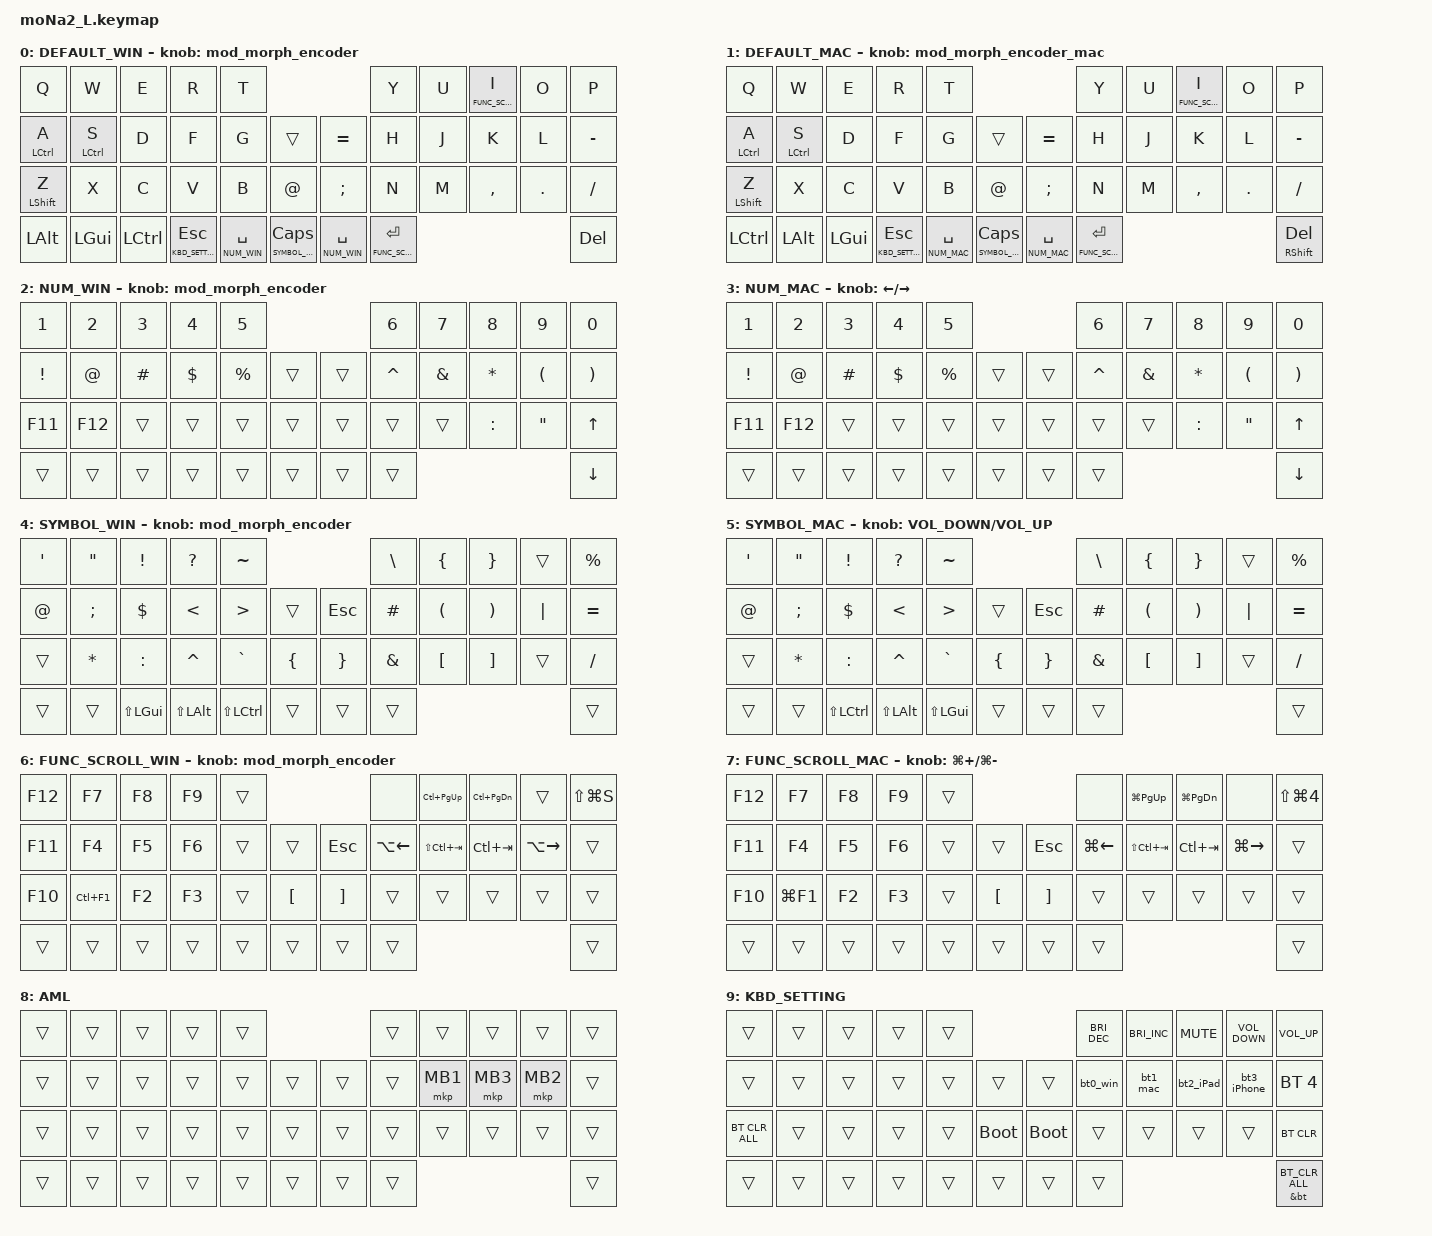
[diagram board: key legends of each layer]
#include <behaviors.dtsi>
#include <dt-bindings/zmk/bt.h>
#include <dt-bindings/zmk/keys.h>
#include <dt-bindings/zmk/pointing.h>

#define DEFAULT_WIN 0
#define DEFAULT_MAC 1
#define NUM_WIN 2
#define NUM_MAC 3
#define SYMBOL_WIN 4
#define SYMBOL_MAC 5
#define FUNC_SCROLL_WIN 6
#define FUNC_SCROLL_MAC 7
#define AML 8
#define KBD_SETTING 9

// ロータリーエンコーダー: スクロール量変更の定義を追記
#define ZMK_POINTING_DEFAULT_SCRL_VAL 120

//マウスカーソルの挙動設定
&mmv {
    delay-ms = <20>;
    trigger-period-ms = <5>;
    time-to-max-speed-ms = <200>;
};

//マウススクロールの挙動設定
&msc {
    delay-ms = <3>;
    trigger-period-ms = <3>;
    time-to-max-speed-ms = <200>;
};

&mt {
    flavor = "balanced";
    tapping-term-ms = <180>;
    quick-tap-ms = <180>;
    hold-while-undecided;
};

&lt {
    flavor = "balanced";
    tapping-term-ms = <180>;
    quick-tap-ms = <180>;
    hold-while-undecided;
};

/ {
    // ========================
    // COMBOS SECTION
    // ========================

    combos {
        compatible = "zmk,combos";

        // Navigation combos
        tab {
            bindings = <&kp TAB>;
            key-positions = <11 10>;
        };

        alt_tab {
            bindings = <&kp LA(TAB)>;
            key-positions = <11 12>;
        };

        // Punctuation combos
        enter_combo {
            bindings = <&kp ENTER>;
            key-positions = <20 21>;
        };

        equals {
            bindings = <&kp EQUAL>;
            key-positions = <8 7>;
        };

        escape {
            bindings = <&kp ESCAPE>;
            key-positions = <1 0>;
        };

        // Letter combos
        shift_z {
            bindings = <&kp LS(Z)>;
            key-positions = <22 23>;
        };

        question_mark {
            bindings = <&kp RS(SLASH)>;
            key-positions = <33 32>;
        };

        bs {
            bindings = <&kp BSPC>;
            key-positions = <9 8>;
        };
    };

    macros {
        to_layer_0: to_layer_0 {
            compatible = "zmk,behavior-macro-one-param";
            #binding-cells = <1>;
            bindings = <&to 0 &macro_param_1to1 &kp MACRO_PLACEHOLDER>;
            label = "TO_LAYER_0";
        };

        bt0_win: bt0 {
            compatible = "zmk,behavior-macro";
            #binding-cells = <0>;
            bindings =
                <&tog_off 1>,
                <&macro_wait_time 200>,
                <&bt BT_SEL 0 &bt BT_DISC 1 &bt BT_DISC 2 &bt BT_DISC 3 &bt BT_DISC 4>;
            label = "BT0";
        };

        bt1_mac: bt1 {
            compatible = "zmk,behavior-macro";
            #binding-cells = <0>;
            bindings =
                <&tog_off 1>,
                <&macro_wait_time 200>,
                <&bt BT_SEL 1 &bt BT_DISC 0 &bt BT_DISC 2 &bt BT_DISC 3 &bt BT_DISC 4>,
                <&macro_wait_time 500>,
                <&tog_on 1>;
            label = "BT1";
        };

        bt2_iPad: bt2_iPad {
            compatible = "zmk,behavior-macro";
            #binding-cells = <0>;
            bindings =
                <&tog_off 1>,
                <&macro_wait_time 200>,
                <&bt BT_SEL 2 &bt BT_DISC 0 &bt BT_DISC 1 &bt BT_DISC 3 &bt BT_DISC 4>,
                <&macro_wait_time 500>,
                <&tog_on 1>;
            label = "BT2_IPAD";
        };

        bt3_iPhone: bt3_iPhone {
            compatible = "zmk,behavior-macro";
            #binding-cells = <0>;
            bindings =
                <&tog_off 1>,
                <&macro_wait_time 200>,
                <&bt BT_SEL 3 &bt BT_DISC 0 &bt BT_DISC 1 &bt BT_DISC 2 &bt BT_DISC 4>,
                <&macro_wait_time 500>,
                <&tog_on 1>;
            label = "BT3_IPHONE";
        };

        // AML起動中にスクロールレイヤに入るためのマクロ(zaruSaruさん実装)
        to_scroll_layer_win: to_scroll_layer_win {
            compatible = "zmk,behavior-macro";
            #binding-cells = <0>;
            bindings =
                <&to FUNC_SCROLL_WIN>,
                <&macro_press>,
                <&mo FUNC_SCROLL_WIN>,
                <&macro_pause_for_release>,
                <&macro_release>,
                <&mo FUNC_SCROLL_WIN>;
            label = "TO_SCROLL_LAYER_WIN";
        };

        to_scroll_layer_mac: to_scroll_layer_mac {
            compatible = "zmk,behavior-macro";
            #binding-cells = <0>;
            bindings =
                <&to FUNC_SCROLL_MAC>,
                <&macro_press>,
                <&mo FUNC_SCROLL_MAC>,
                <&macro_pause_for_release>,
                <&macro_release>,
                <&mo FUNC_SCROLL_MAC>;
            label = "TO_SCROLL_LAYER_MAC";
        };

        // タップ時のみAML解除するための設定
        exit_AML: exit_AML {
            compatible = "zmk,behavior-macro";
            wait-ms = <0>;
            tap-ms = <0>;
            #binding-cells = <0>;
            bindings = <&tog_off AML>;
            label = "exit_AML";
        };

        kp_exit_AML: kp_exit_AML {
            compatible = "zmk,behavior-macro-one-param";
            wait-ms = <0>;
            tap-ms = <0>;
            #binding-cells = <1>;
            bindings = <&macro_param_1to1 &kp MACRO_PLACEHOLDER &exit_AML>;
            label = "KP_exit_AML";
        };
    };

    behaviors {
        lt_to_layer_0: lt_to_layer_0 {
            compatible = "zmk,behavior-hold-tap";
            label = "LAYER_TAP_TO_0";
            bindings = <&mo>, <&to_layer_0>;
            #binding-cells = <2>;
            tapping-term-ms = <200>;
        };

        // タップ時のみAML解除するための設定
        mt_exit_AML_on_tap: mt_exit_AML_on_tap {
            compatible = "zmk,behavior-hold-tap";
            label = "MT_exit_AML_ON_TAP";
            bindings = <&kp>, <&kp_exit_AML>;
            #binding-cells = <2>;
            tapping-term-ms = <200>;
            flavor = "balanced";
            quick-tap-ms = <200>;
        };

        // ロータリーエンコーダーでスクロールする設定
        encoder_msc_down_up: encoder_msc_down_up {
            compatible = "zmk,behavior-sensor-rotate";
            label = "ENCODER_MSC_DOWN_UP";
            #sensor-binding-cells = <0>;
            bindings = <&msc SCRL_DOWN>, <&msc SCRL_UP>;
            tap-ms = <20>;
        };

        encoder_msc_up_down: encoder_msc_up_down {
            compatible = "zmk,behavior-sensor-rotate";
            label = "ENCODER_MSC_UP_DOWN";
            #sensor-binding-cells = <0>;
            bindings = <&msc SCRL_UP>, <&msc SCRL_DOWN>;
            tap-ms = <20>;
        };

        // Ctrl+スクロール (Windows用)
        encoder_msc_ctrl_up_down: encoder_msc_ctrl_up_down {
            compatible = "zmk,behavior-sensor-rotate";
            label = "ENCODER_MSC_CTRL_UP_DOWN";
            #sensor-binding-cells = <0>;
            bindings = <&sk LCTRL &msc SCRL_UP>, <&sk LCTRL &msc SCRL_DOWN>;
        };

        // 接続先に応じてデフォルトレイヤーを変更するための動作
        tog_on: toggle_layer_on_only {
            compatible = "zmk,behavior-toggle-layer";
            #binding-cells = <1>;
            display-name = "Toggle Layer On";
            toggle-mode = "on";
        };

        tog_off: toggle_layer_off_only {
            compatible = "zmk,behavior-toggle-layer";
            #binding-cells = <1>;
            display-name = "Toggle Layer Off";
            toggle-mode = "off";
        };

        // リピート付きのSpace and Shift
        sands: space_and_shift {
            compatible = "zmk,behavior-hold-tap";
            label = "SPACE_AND_SHIFT";
            #binding-cells = <2>;
            flavor = "tap-unless-interrupted";
            tapping-term-ms = <220>;
            quick-tap-ms = <125>;
            global-quick-tap;
            bindings = <&kp>, <&kp>;
        };

        mtandkp: mt_and_kp {
            compatible = "zmk,behavior-hold-tap";
            label = "MT_AND_KP";
            #binding-cells = <2>;
            flavor = "tap-unless-interrupted";
            tapping-term-ms = <220>;
            quick-tap-ms = <125>;
            global-quick-tap;
            bindings = <&mt>, <&kp>;
        };

        ltandkp: lt_and_kp {
            compatible = "zmk,behavior-hold-tap";
            label = "LT_AND_KP";
            #binding-cells = <2>;
            flavor = "tap-unless-interrupted";
            tapping-term-ms = <220>;
            quick-tap-ms = <125>;
            global-quick-tap;
            bindings = <&lt>, <&kp>;
        };

        // Fixed space_sl2 behavior
        space_sl2: space_sl2 {
            compatible = "zmk,behavior-hold-tap";
            label = "SPACE_STICKY_LAYER_2";
            #binding-cells = <2>;
            tapping-term-ms = <200>;
            quick-tap-ms = <0>;
            flavor = "tap-preferred";
            bindings = <&sl>, <&kp>;
        };

        // Fixed lt_to_layer behaviors
        lt_to_layer_3: lt_to_layer_3 {
            compatible = "zmk,behavior-hold-tap";
            label = "LAYER_TAP_TO_3";
            bindings = <&mo>, <&to>;
            #binding-cells = <2>;
            tapping-term-ms = <200>;
        };

        lt_to_layer_4: lt_to_layer_4 {
            compatible = "zmk,behavior-hold-tap";
            label = "LAYER_TAP_TO_4";
            bindings = <&mo>, <&to>;
            #binding-cells = <2>;
            tapping-term-ms = <200>;
        };

        // mod morphを使用したエンコーダーの挙動制御
        shift_p: shift_p {
            compatible = "zmk,behavior-mod-morph";
            #binding-cells = <0>;
            bindings = <&kp 0>, <&kp LG(LEFT)>;
            mods = <(MOD_LSFT|MOD_RSFT)>;
            keep-mods = <(MOD_LSFT)>;
        };

        shift_default_p: shift_default_p {
            compatible = "zmk,behavior-mod-morph";
            #binding-cells = <0>;
            bindings = <&msc SCRL_DOWN>, <&shift_p>;
            mods = <(MOD_LSFT|MOD_RSFT)>;
        };

        alt_p: alt_p {
            compatible = "zmk,behavior-mod-morph";
            #binding-cells = <0>;
            bindings = <&kp 0>, <&kp LG(UP)>;
            mods = <(MOD_LALT|MOD_RALT)>;
        };

        win_p: win_p {
            compatible = "zmk,behavior-mod-morph";
            #binding-cells = <0>;
            bindings = <&kp 0>, <&kp LG(LEFT)>;
            mods = <(MOD_LGUI|MOD_RGUI)>;
        };

        alt_win_p: alt_win_p {
            compatible = "zmk,behavior-mod-morph";
            #binding-cells = <0>;
            bindings = <&alt_p>, <&win_p>;
            mods = <(MOD_LGUI|MOD_RGUI)>;
        };

        mod_morph_encoder_p: mod_morph_encoder_p {
            compatible = "zmk,behavior-mod-morph";
            #binding-cells = <0>;
            bindings = <&shift_default_p>, <&alt_win_p>;
            mods = <(MOD_LALT|MOD_RALT|MOD_LGUI|MOD_RGUI)>;
        };

        shift_n: shift_n {
            compatible = "zmk,behavior-mod-morph";
            #binding-cells = <0>;
            bindings = <&kp 0>, <&kp LG(RIGHT)>;
            mods = <(MOD_LSFT|MOD_RSFT)>;
            keep-mods = <(MOD_LSFT)>;
        };

        shift_default_n: shift_default_n {
            compatible = "zmk,behavior-mod-morph";
            #binding-cells = <0>;
            bindings = <&msc SCRL_UP>, <&shift_n>;
            mods = <(MOD_LSFT|MOD_RSFT)>;
        };

        alt_n: alt_n {
            compatible = "zmk,behavior-mod-morph";
            #binding-cells = <0>;
            bindings = <&kp 0>, <&kp LG(DOWN)>;
            mods = <(MOD_LALT|MOD_RALT)>;
        };

        win_n: win_n {
            compatible = "zmk,behavior-mod-morph";
            #binding-cells = <0>;
            bindings = <&kp 0>, <&kp LG(RIGHT)>;
            mods = <(MOD_LGUI|MOD_RGUI)>;
        };

        alt_win_n: alt_win_n {
            compatible = "zmk,behavior-mod-morph";
            #binding-cells = <0>;
            bindings = <&alt_n>, <&win_n>;
            mods = <(MOD_LGUI|MOD_RGUI)>;
        };

        mod_morph_encoder_n: mod_morph_encoder_n {
            compatible = "zmk,behavior-mod-morph";
            #binding-cells = <0>;
            bindings = <&shift_default_n>, <&alt_win_n>;
            mods = <(MOD_LALT|MOD_RALT|MOD_LGUI|MOD_RGUI)>;
        };

        mod_morph_encoder: mod_morph_encoder {
            compatible = "zmk,behavior-sensor-rotate";
            #sensor-binding-cells = <0>;
            bindings = <&mod_morph_encoder_n>, <&mod_morph_encoder_p>;
            tap-ms = <20>;
        };

        // Mac用エンコーダー
        gui_p: gui_p {
            compatible = "zmk,behavior-mod-morph";
            #binding-cells = <0>;
            bindings = <&kp DELETE>, <&kp LG(PLUS)>;
            mods = <(MOD_LGUI|MOD_RGUI)>;
        };

        sftgui_default_p: sftgui_default_p {
            compatible = "zmk,behavior-mod-morph";
            #binding-cells = <0>;
            bindings = <&msc SCRL_DOWN>, <&gui_p>;
            mods = <(MOD_LGUI|MOD_RGUI|MOD_LSFT|MOD_RSFT)>;
        };

        ctrl_p: ctrl_p {
            compatible = "zmk,behavior-mod-morph";
            #binding-cells = <0>;
            bindings = <&kp 0>, <&kp LA(LC(LG(RIGHT)))>;
            mods = <(MOD_LCTL|MOD_RCTL)>;
        };

        opt_p: opt_p {
            compatible = "zmk,behavior-mod-morph";
            #binding-cells = <0>;
            bindings = <&kp 0>, <&kp LA(LC(LG(DOWN)))>;
            mods = <(MOD_LALT|MOD_RALT)>;
        };

        opt_ctrl_p: opt_ctrl_p {
            compatible = "zmk,behavior-mod-morph";
            #binding-cells = <0>;
            bindings = <&ctrl_p>, <&opt_p>;
            mods = <(MOD_LALT|MOD_RALT)>;
        };

        mod_morph_encoder_mac_p: mod_morph_encoder_mac_p {
            compatible = "zmk,behavior-mod-morph";
            #binding-cells = <0>;
            bindings = <&sftgui_default_p>, <&opt_ctrl_p>;
            mods = <(MOD_LALT|MOD_RALT|MOD_LCTL|MOD_RCTL)>;
        };

        gui_n: gui_n {
            compatible = "zmk,behavior-mod-morph";
            #binding-cells = <0>;
            bindings = <&kp BACKSPACE>, <&kp LG(MINUS)>;
            mods = <(MOD_LGUI|MOD_RGUI)>;
        };

        sftgui_default_n: sftgui_default_n {
            compatible = "zmk,behavior-mod-morph";
            #binding-cells = <0>;
            bindings = <&msc SCRL_UP>, <&gui_n>;
            mods = <(MOD_LGUI|MOD_RGUI|MOD_LSFT|MOD_RSFT)>;
        };

        ctrl_n: ctrl_n {
            compatible = "zmk,behavior-mod-morph";
            #binding-cells = <0>;
            bindings = <&kp 0>, <&kp LA(LC(LG(LEFT)))>;
            mods = <(MOD_LCTL|MOD_RCTL)>;
        };

        opt_n: opt_n {
            compatible = "zmk,behavior-mod-morph";
            #binding-cells = <0>;
            bindings = <&kp 0>, <&kp LA(LC(LG(UP)))>;
            mods = <(MOD_LALT|MOD_RALT)>;
        };

        opt_ctrl_n: opt_ctrl_n {
            compatible = "zmk,behavior-mod-morph";
            #binding-cells = <0>;
            bindings = <&ctrl_n>, <&opt_n>;
            mods = <(MOD_LALT|MOD_RALT)>;
        };

        mod_morph_encoder_mac_n: mod_morph_encoder_mac_n {
            compatible = "zmk,behavior-mod-morph";
            #binding-cells = <0>;
            bindings = <&sftgui_default_n>, <&opt_ctrl_n>;
            mods = <(MOD_LALT|MOD_RALT|MOD_LCTL|MOD_RCTL)>;
        };

        mod_morph_encoder_mac: mod_morph_encoder_mac {
            compatible = "zmk,behavior-sensor-rotate";
            #sensor-binding-cells = <0>;
            bindings = <&mod_morph_encoder_mac_p>, <&mod_morph_encoder_mac_n>;
            tap-ms = <20>;
        };

        // Tap dance behaviors
        td_LT6_Lang1_and_MO4: td_LT6_Lang1_and_MO4 {
            compatible = "zmk,behavior-tap-dance";
            label = "TD_LT6_LANG1_AND_MO4";
            #binding-cells = <0>;
            bindings = <&lt FUNC_SCROLL_WIN LANGUAGE_1>, <&mo SYMBOL_WIN>;
            tapping-term-ms = <240>;
        };

        td_mt_left_ctrl: td_mt_left_ctrl {
            compatible = "zmk,behavior-tap-dance";
            label = "TD_MT_LEFT_CTRL";
            #binding-cells = <0>;
            bindings =
                <&mt_exit_AML_on_tap LCTRL X>,
                <&mt_exit_AML_on_tap LS(LCTRL) X>;
        };

        td_mt_right_ctrl: td_mt_right_ctrl {
            compatible = "zmk,behavior-tap-dance";
            label = "TD_MT_RIGHT_CTRL";
            #binding-cells = <0>;
            bindings =
                <&mt_exit_AML_on_tap LCTRL PERIOD>,
                <&mt_exit_AML_on_tap LS(LCTRL) PERIOD>;
        };

        td_mt_left_alt: td_mt_left_alt {
            compatible = "zmk,behavior-tap-dance";
            label = "TD_MT_LEFT_ALT";
            #binding-cells = <0>;
            bindings =
                <&mt_exit_AML_on_tap LEFT_ALT C>,
                <&mt_exit_AML_on_tap LS(LALT) C>;
        };

        td_mt_right_alt: td_mt_right_alt {
            compatible = "zmk,behavior-tap-dance";
            label = "TD_MT_RIGHT_ALT";
            #binding-cells = <0>;
            bindings =
                <&mt_exit_AML_on_tap LEFT_ALT COMMA>,
                <&mt_exit_AML_on_tap LS(LALT) COMMA>;
        };

        td_mt_left_win: td_mt_left_win {
            compatible = "zmk,behavior-tap-dance";
            label = "TD_MT_LEFT_WIN";
            #binding-cells = <0>;
            bindings =
                <&mt_exit_AML_on_tap LEFT_WIN V>,
                <&mt_exit_AML_on_tap LS(LEFT_WIN) V>;
        };

        td_mt_right_win: td_mt_right_win {
            compatible = "zmk,behavior-tap-dance";
            label = "TD_MT_RIGHT_WIN";
            #binding-cells = <0>;
            bindings =
                <&mt_exit_AML_on_tap LEFT_WIN M>,
                <&mt_exit_AML_on_tap LS(LEFT_WIN) M>;
        };
    };

    keymap {
        compatible = "zmk,keymap";

        DEFAULT_WIN {
            bindings = <
&kp Q             &kp W         &kp E      &kp R                   &kp T                                                                            &kp Y                      &kp U  &lt FUNC_SCROLL_WIN I  &kp O    &kp P
&mt LCTRL A       &mt LCTRL S   &kp D      &kp F                   &kp G                     &trans                              &kp EQUAL          &kp H                      &kp J  &kp K                  &kp L    &kp MINUS
&mt LEFT_SHIFT Z  &kp X         &kp C      &kp V                   &kp B                     &kp AT                              &kp SEMI           &kp N                      &kp M  &kp COMMA              &kp DOT  &kp SLASH
&kp LALT          &kp LEFT_GUI  &kp LCTRL  &lt KBD_SETTING ESCAPE  &space_sl2 NUM_WIN SPACE  &lt_to_layer_0 SYMBOL_WIN CAPS      &lt NUM_WIN SPACE  &lt FUNC_SCROLL_WIN ENTER                                         &kp DEL
            >;
            sensor-bindings = <&mod_morph_encoder>;
        };

        DEFAULT_MAC {
            bindings = <
&kp Q             &kp W        &kp E         &kp R                   &kp T                                                                            &kp Y                      &kp U  &lt FUNC_SCROLL_MAC I  &kp O    &kp P
&mt LCTRL A       &mt LCTRL S  &kp D         &kp F                   &kp G                     &trans                              &kp EQUAL          &kp H                      &kp J  &kp K                  &kp L    &kp MINUS
&mt LEFT_SHIFT Z  &kp X        &kp C         &kp V                   &kp B                     &kp AT                              &kp SEMI           &kp N                      &kp M  &kp COMMA              &kp DOT  &kp SLASH
&kp LCTRL         &kp LALT     &kp LEFT_GUI  &lt KBD_SETTING ESCAPE  &space_sl2 NUM_MAC SPACE  &lt_to_layer_0 SYMBOL_MAC CAPS      &lt NUM_MAC SPACE  &lt FUNC_SCROLL_MAC ENTER                                         &mt RIGHT_SHIFT DELETE
            >;
            sensor-bindings = <&mod_morph_encoder_mac>;
        };

        NUM_WIN {
            bindings = <
&kp NUMBER_1  &kp NUMBER_2  &kp NUMBER_3  &kp NUMBER_4  &kp N5                         &kp NUMBER_6  &kp NUMBER_7  &kp N8     &kp NUMBER_9  &kp NUMBER_0
&kp EXCL      &kp AT        &kp POUND     &kp DLLR      &kp PRCNT  &trans      &trans  &kp CARET     &kp AMPS      &kp STAR   &kp LPAR      &kp RPAR
&kp F11       &kp F12       &trans        &trans        &trans     &trans      &trans  &trans        &trans        &kp COLON  &kp DQT       &kp UP_ARROW
&trans        &trans        &trans        &trans        &trans     &trans      &trans  &trans                                               &kp DOWN_ARROW
            >;
            sensor-bindings = <&mod_morph_encoder>;
        };

        NUM_MAC {
            bindings = <
&kp NUMBER_1  &kp NUMBER_2  &kp NUMBER_3  &kp NUMBER_4  &kp N5                         &kp NUMBER_6  &kp NUMBER_7  &kp N8     &kp NUMBER_9  &kp NUMBER_0
&kp EXCL      &kp AT        &kp POUND     &kp DLLR      &kp PRCNT  &trans      &trans  &kp CARET     &kp AMPS      &kp STAR   &kp LPAR      &kp RPAR
&kp F11       &kp F12       &trans        &trans        &trans     &trans      &trans  &trans        &trans        &kp COLON  &kp DQT       &kp UP_ARROW
&trans        &trans        &trans        &trans        &trans     &trans      &trans  &trans                                               &kp DOWN_ARROW
            >;
            sensor-bindings = <&inc_dec_kp LEFT RIGHT>;
        };

        SYMBOL_WIN {
            bindings = <
&kp SQT      &kp DOUBLE_QUOTES  &kp EXCLAMATION   &kp QUESTION      &kp TILDE                                              &kp BACKSLASH  &kp LEFT_BRACE        &kp RIGHT_BRACE        &trans    &kp PERCENT
&kp AT_SIGN  &kp SEMICOLON      &kp DOLLAR        &kp LESS_THAN     &kp GREATER_THAN  &trans              &kp ESCAPE       &kp HASH       &kp LEFT_PARENTHESIS  &kp RIGHT_PARENTHESIS  &kp PIPE  &kp EQUAL
&trans       &kp ASTERISK       &kp COLON         &kp CARET         &kp GRAVE         &kp LEFT_BRACE      &kp RIGHT_BRACE  &kp AMPERSAND  &kp LEFT_BRACKET      &kp RIGHT_BRACKET      &trans    &kp SLASH
&trans       &trans             &kp LS(LEFT_GUI)  &kp LS(LEFT_ALT)  &kp LS(LCTRL)                         &trans              &trans           &trans                                                                &trans
            >;
            sensor-bindings = <&mod_morph_encoder>;
        };

        SYMBOL_MAC {
            bindings = <
&kp SQT      &kp DOUBLE_QUOTES  &kp EXCLAMATION  &kp QUESTION      &kp TILDE                                              &kp BACKSLASH  &kp LEFT_BRACE        &kp RIGHT_BRACE        &trans    &kp PERCENT
&kp AT_SIGN  &kp SEMICOLON      &kp DOLLAR       &kp LESS_THAN     &kp GREATER_THAN  &trans              &kp ESCAPE       &kp HASH       &kp LEFT_PARENTHESIS  &kp RIGHT_PARENTHESIS  &kp PIPE  &kp EQUAL
&trans       &kp ASTERISK       &kp COLON        &kp CARET         &kp GRAVE         &kp LEFT_BRACE      &kp RIGHT_BRACE  &kp AMPERSAND  &kp LEFT_BRACKET      &kp RIGHT_BRACKET      &trans    &kp SLASH
&trans       &trans             &kp LS(LCTRL)    &kp LS(LEFT_ALT)  &kp LS(LEFT_GUI)  &trans              &trans           &trans                                                                &trans
            >;
            sensor-bindings = <&inc_dec_kp C_VOLUME_DOWN C_VOLUME_UP>;
        };

        FUNC_SCROLL_WIN {
            bindings = <
&kp F12  &kp F7      &kp F8  &kp F9  &trans                                           &none         &kp LC(PAGE_UP)  &kp LC(PAGE_DOWN)  &trans         &kp LS(LG(S))
&kp F11  &kp F4      &kp F5  &kp F6  &trans  &trans                &kp ESCAPE         &kp LA(LEFT)  &kp LS(LC(TAB))  &kp LC(TAB)        &kp LA(RIGHT)  &trans
&kp F10  &kp LC(F1)  &kp F2  &kp F3  &trans  &kp LEFT_BRACKET      &kp RIGHT_BRACKET  &trans        &trans           &trans             &trans         &trans
&trans   &trans      &trans  &trans  &trans  &trans                &trans             &trans                                                           &trans
            >;
            sensor-bindings = <&mod_morph_encoder>;
        };

        FUNC_SCROLL_MAC {
            bindings = <
&kp F12  &kp F7      &kp F8  &kp F9  &trans                                           &none         &kp LG(PAGE_UP)  &kp LG(PAGE_DOWN)  &none          &kp LS(LG(NUMBER_4))
&kp F11  &kp F4      &kp F5  &kp F6  &trans  &trans                &kp ESCAPE         &kp LG(LEFT)  &kp LS(LC(TAB))  &kp LC(TAB)        &kp LG(RIGHT)  &trans
&kp F10  &kp LG(F1)  &kp F2  &kp F3  &trans  &kp LEFT_BRACKET      &kp RIGHT_BRACKET  &trans        &trans           &trans             &trans         &trans
&trans   &trans      &trans  &trans  &trans  &trans                &trans             &trans                                                           &trans
            >;
            sensor-bindings = <&inc_dec_kp LG(PLUS) LG(MINUS)>;
        };

        AML {
            bindings = <
&trans  &trans  &trans  &trans  &trans                      &trans  &trans    &trans    &trans    &trans
&trans  &trans  &trans  &trans  &trans  &trans      &trans  &trans  &mkp MB1  &mkp MB3  &mkp MB2  &trans
&trans  &trans  &trans  &trans  &trans  &trans      &trans  &trans  &trans    &trans    &trans    &trans
&trans  &trans  &trans  &trans  &trans  &trans      &trans  &trans                                &trans
            >;
        };

        KBD_SETTING {
            bindings = <
&trans          &trans  &trans  &trans  &trans                                &kp C_BRIGHTNESS_DEC  &kp C_BRIGHTNESS_INC  &kp K_MUTE  &kp C_VOLUME_DOWN  &kp C_VOLUME_UP
&trans          &trans  &trans  &trans  &trans  &trans      &trans  &bt0_win              &bt1_mac              &bt2_iPad   &bt3_iPhone        &bt BT_SEL 4
&bt BT_CLR_ALL  &trans  &trans  &trans  &trans  &bootloader      &bootloader       &trans                &trans                &trans      &trans             &bt BT_CLR
&trans          &trans  &trans  &trans  &trans  &trans           &trans       &trans                                                                     &&bt BT_CLR_ALL
            >;
        };
    };
};
